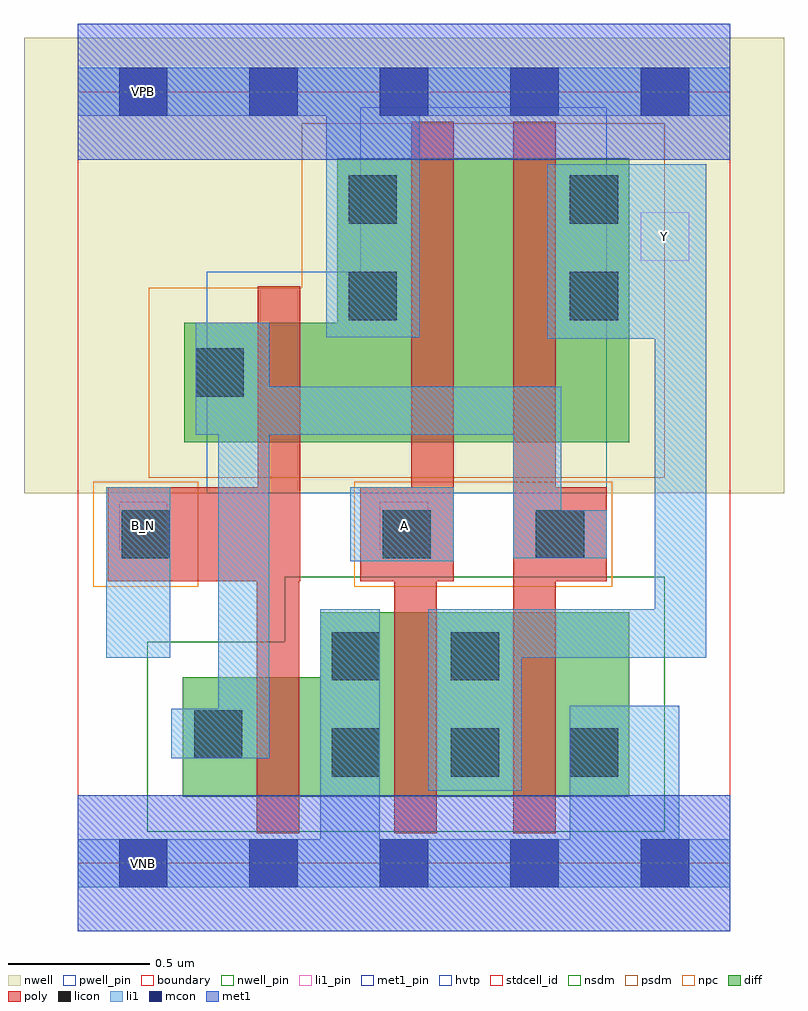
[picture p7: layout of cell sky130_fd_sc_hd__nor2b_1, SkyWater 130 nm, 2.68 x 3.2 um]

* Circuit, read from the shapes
.subckt sky130_fd_sc_hd__nor2b_1 A B_N VGND VNB VPB VPWR Y
XM1 VGND B_N n1 VNB sky130_fd_pr__nfet_01v8 w=0.42 l=0.15
XM2 Y A VGND VNB sky130_fd_pr__nfet_01v8 w=0.65 l=0.15
XM3 VGND n1 Y VNB sky130_fd_pr__nfet_01v8 w=0.65 l=0.15
XM4 VPWR B_N n1 VPB sky130_fd_pr__pfet_01v8_hvt w=0.42 l=0.15
XM5 n2 A VPWR VPB sky130_fd_pr__pfet_01v8_hvt w=1 l=0.15
XM6 Y n1 n2 VPB sky130_fd_pr__pfet_01v8_hvt w=1 l=0.15
.ends

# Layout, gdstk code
import gdstk
lib = gdstk.Library(unit=1e-6, precision=1e-09)
def R(c, l, rs):  # rectangles x0, y0, x1, y1
    for r in rs: c.add(gdstk.rectangle(r[:2], r[2:], *l))
def A(c, l, x, y, w, h, nx, ny, dx, dy):  # array of equal rectangles
    R(c, l, [(x+i*dx, y+j*dy, x+i*dx+w, y+j*dy+h) for i in range(nx) for j in range(ny)])
nwell_pin = (64, 16)
nwell = (64, 20)
diff = (65, 20)
poly = (66, 20)
licon = (66, 44)
li1_pin = (67, 16)
li1 = (67, 20)
mcon = (67, 44)
met1_pin = (68, 16)
met1 = (68, 20)
hvtp = (78, 44)
stdcell_id = (81, 4)
nsdm = (93, 44)
psdm = (94, 20)
npc = (95, 20)
pwell_pin = (122, 16)
boundary = (235, 4)

sky130_fd_sc_hd__nor2b_1 = lib.new_cell('sky130_fd_sc_hd__nor2b_1')
R(sky130_fd_sc_hd__nor2b_1, nwell_pin, [(0.145,2.635,0.315,2.805)])
R(sky130_fd_sc_hd__nor2b_1, nwell, [(-0.19,1.305,2.49,2.91)])
R(sky130_fd_sc_hd__nor2b_1, diff, [(0.37,0.235,1.945,0.655), (0.855,0.655,1.945,0.885), (0.375,1.485,1.945,1.905), (0.915,1.905,1.945,2.485)])
R(sky130_fd_sc_hd__nor2b_1, poly, [(0.63,0.105,0.78,0.995), (1.115,0.105,1.265,0.995), (1.535,0.105,1.685,0.995), (0.105,0.995,0.785,1.325), (0.995,0.995,1.325,1.325), (1.535,0.995,1.865,1.325), (0.635,1.325,0.785,2.035), (1.175,1.325,1.325,2.615), (1.535,1.325,1.685,2.615)])
A(sky130_fd_sc_hd__nor2b_1, licon, 0.895, 0.305, 0.17, 0.17, 3, 1, 0.42, 0)
R(sky130_fd_sc_hd__nor2b_1, licon, [(0.41,0.37,0.58,0.54), (0.895,0.645,1.065,0.815), (1.315,0.645,1.485,0.815), (0.155,1.075,0.325,1.245), (1.075,1.075,1.245,1.245), (1.615,1.075,1.785,1.245), (0.415,1.645,0.585,1.815), (0.955,1.915,1.125,2.085), (1.735,1.915,1.905,2.085), (0.955,2.255,1.125,2.425), (1.735,2.255,1.905,2.425)])
R(sky130_fd_sc_hd__nor2b_1, li1_pin, [(0.145,1.105,0.315,1.275), (1.065,1.105,1.235,1.275), (1.985,2.125,2.155,2.295)])
R(sky130_fd_sc_hd__nor2b_1, li1, [(0,-0.085,2.3,0.085), (0.855,0.085,1.065,0.895), (1.735,0.085,2.12,0.555), (1.235,0.255,1.565,0.725), (0.33,0.37,0.675,0.545), (0.495,0.545,0.675,1.51), (0.1,0.725,0.325,1.325), (1.235,0.725,2.215,0.895), (2.035,0.895,2.215,1.85), (0.96,1.065,1.325,1.325), (1.535,1.075,1.865,1.245), (1.535,1.245,1.705,1.51), (0.415,1.51,1.705,1.68), (0.415,1.68,0.675,1.905), (1.655,1.85,2.215,2.465), (0.875,1.855,1.205,2.635), (0,2.635,2.3,2.805)])
A(sky130_fd_sc_hd__nor2b_1, mcon, 0.145, -0.085, 0.17, 0.17, 5, 2, 0.46, 2.72)
R(sky130_fd_sc_hd__nor2b_1, met1_pin, [(0.145,-0.085,0.315,0.085), (0.145,2.635,0.315,2.805)])
R(sky130_fd_sc_hd__nor2b_1, met1, [(0,-0.24,2.3,0.24), (0,2.48,2.3,2.96)])
R(sky130_fd_sc_hd__nor2b_1, hvtp, [(0.455,1.305,1.865,2.085), (0.995,2.085,1.865,2.665)])
R(sky130_fd_sc_hd__nor2b_1, stdcell_id, [(0,0,2.3,2.72)])
R(sky130_fd_sc_hd__nor2b_1, nsdm, [(0.245,0.11,2.07,0.78), (0.73,0.78,2.07,1.01)])
R(sky130_fd_sc_hd__nor2b_1, psdm, [(0.25,1.36,2.07,2.03), (0.79,2.03,2.07,2.61)])
R(sky130_fd_sc_hd__nor2b_1, npc, [(0.055,0.975,0.425,1.345), (0.975,0.975,1.885,1.345)])
R(sky130_fd_sc_hd__nor2b_1, pwell_pin, [(0.145,-0.085,0.315,0.085)])
R(sky130_fd_sc_hd__nor2b_1, boundary, [(0,0,2.3,2.72)])
sky130_fd_sc_hd__nor2b_1.add(gdstk.Label('VPB', (0.23,2.72), layer=64, texttype=5))
sky130_fd_sc_hd__nor2b_1.add(gdstk.Label('VNB', (0.23,0), layer=64, texttype=59))
sky130_fd_sc_hd__nor2b_1.add(gdstk.Label('VGND', (0.23,0), layer=68, texttype=5))
sky130_fd_sc_hd__nor2b_1.add(gdstk.Label('VPWR', (0.23,2.72), layer=68, texttype=5))
sky130_fd_sc_hd__nor2b_1.add(gdstk.Label('B_N', (0.23,1.19), layer=67, texttype=5))
sky130_fd_sc_hd__nor2b_1.add(gdstk.Label('A', (1.15,1.19), layer=67, texttype=5))
sky130_fd_sc_hd__nor2b_1.add(gdstk.Label('Y', (2.07,2.21), layer=67, texttype=5))

lib.write_gds('sky130_fd_sc_hd__nor2b_1.gds')
